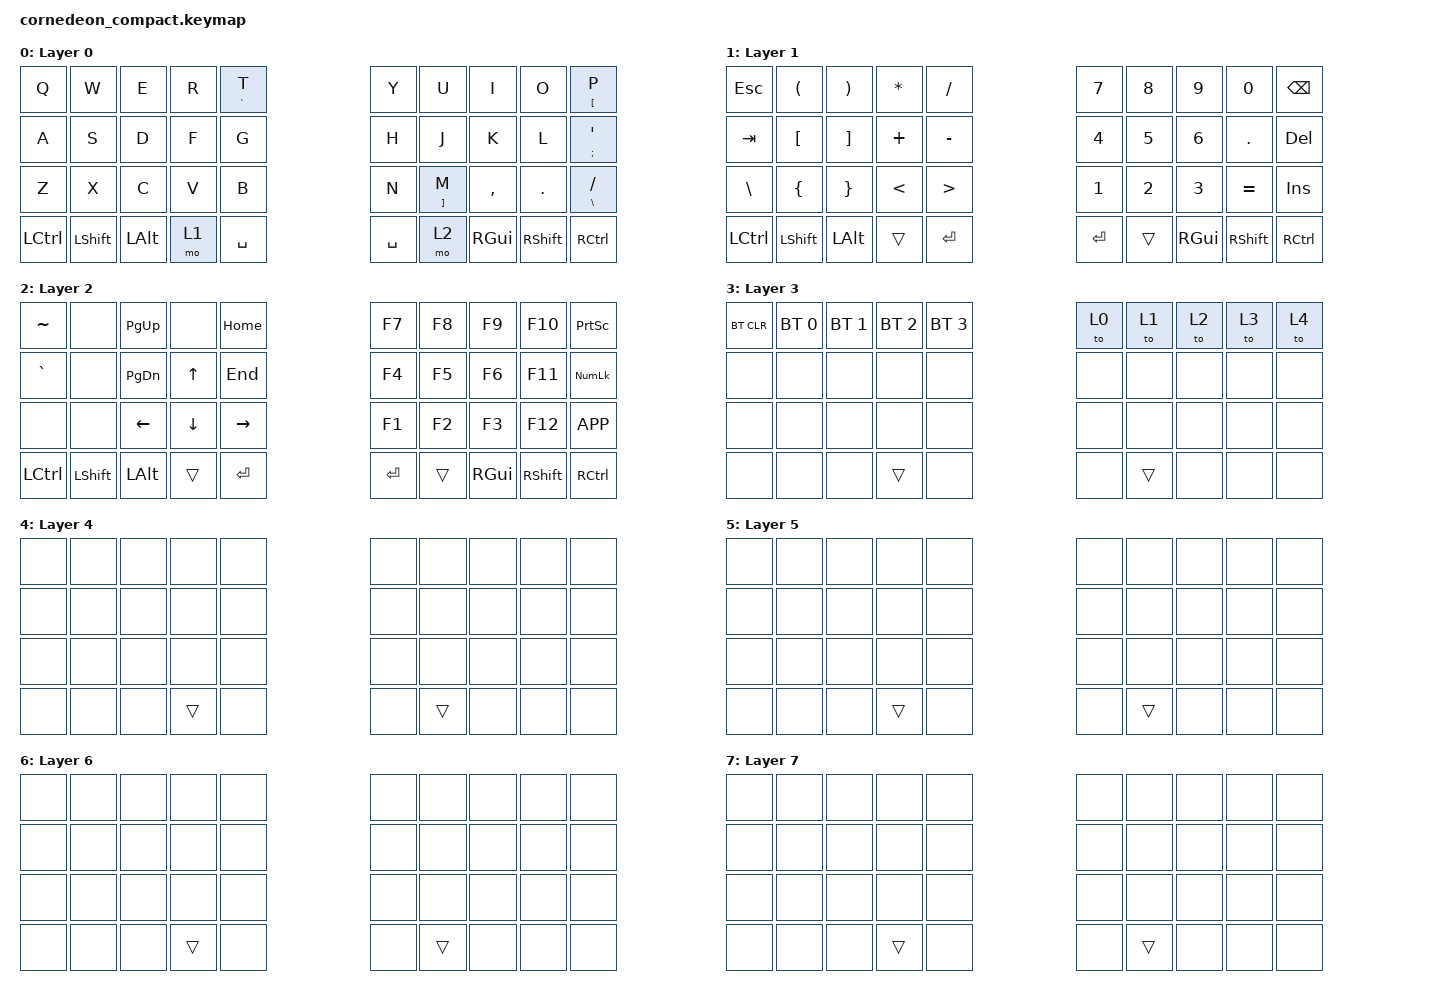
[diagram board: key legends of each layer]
/*
 * Copyright (c) 2020 The ZMK Contributors
 *
 * SPDX-License-Identifier: MIT
 */

#include <dt-bindings/zmk/matrix_transform.h>
#include <behaviors.dtsi>
#include <dt-bindings/zmk/bt.h>
#include <dt-bindings/zmk/keys.h>

/ {
    keymap {
        compatible = "zmk,keymap";

        layer_0 {
            display-name = "Layer 0";

            // ----------------------------------------------------------------------------------
            // |   Q   |   W   |   E   |   R   |  T  |       |  Y  |   U   |  I  |   O   |  P [ |
            // |   A   |   S   |   D   |   F   |  G  |       |  H  |   J   |  K  |   L   |  ;'  |
            // |   Z   |   X   |   C   |   V   |  B  |       |  N  |   M   |  ,  |   .   |  /\  |
            // |  CTRL | SHIFT |  ALT  | MO(1) | SPC |       | SPC | MO(2) | GUI | SHIFT | CTRL |

            bindings = <
&kp Q  &kp W  &kp E  &kp R  &mt GRAVE T                  &kp Y  &kp U  &kp I  &kp O  &mt LBKT P
&kp A  &kp S  &kp D  &kp F  &kp G                        &kp H  &kp J  &kp K  &kp L  &mt SEMI SQT
&kp Z  &kp X  &kp C  &kp V  &kp B                        &kp N  &mt RBKT M  &kp COMMA  &kp DOT &mt BSLH FSLH
&kp LCTRL &kp LSHFT &kp LALT  &mo 1  &kp SPACE           &kp SPACE  &mo 2  &kp RGUI  &kp RSHFT &kp RCTRL
            >;
        };

        layer_1 {
            display-name = "Layer 1";

            // --------------------------------------------------------------------------
            // |  ESC  |   (   |   )   |  *  |  /  |      |  7  |  8  |  9  |  0  | BSP |
            // |  TAB  |   [   |   ]   |  +  |  -  |      |  4  |  5  |  6  |  .  | DEL |
            // |   \   |   {   |   }   |  <  |  >  |      |  1  |  2  |  3  |  =  | INS |
            // |  CTRL | SHIFT |  ALT  |     | RET |      | RET |     | GUI | SHIFT | CTRL |

            bindings = <
&kp ESC   &kp LPAR   &kp RPAR  &kp STAR  &kp FSLH        &kp N7  &kp N8  &kp N9  &kp N0  &kp BSPC  
&kp TAB   &kp LBKT   &kp RBKT  &kp PLUS  &kp MINUS       &kp N4  &kp N5  &kp N6  &kp DOT  &kp DEL  
&kp BSLH  &kp LBRC   &kp RBRC  &kp LT    &kp GT          &kp N1  &kp N2  &kp N3  &kp EQUAL  &kp INS
&kp LCTRL &kp LSHFT  &kp LALT  &trans    &kp RET         &kp RET &trans  &kp RGUI  &kp RSHFT  &kp RCTL
            >;
        };

        layer_2 {
            display-name = "Layer 2";

            // ----------------------------------------------------------------------------------
            // |   ~   |       | PGUP |      |  HOME |      |  F7 |  F8  |  F9 |  F10  | PSCRN |
            // |   `   |       | PGDN |  UP  |  END  |      |  F4 |  F5  |  F6 |  F11  | NUMLK |
            // |       |       | LEFT | DOWN | RIGHT |      |  F1 |  F2  |  F3 |  F12  |  MENU |
            // | CTRL  | SHIFT | ALT  |      |  RET  |      | RET |      | GUI | SHIFT |  CTRL |

            bindings = <
&kp TILDE  &none     &kp PG_UP &none    &kp HOME               &kp F7  &kp F8  &kp F9  &kp F10  &kp PSCRN
&kp GRAVE  &none     &kp PG_DN &kp UP   &kp END                &kp F4  &kp F5  &kp F6  &kp F11  &kp KP_NUM
&none      &none     &kp LEFT  &kp DOWN &kp RIGHT              &kp F1  &kp F2  &kp F3  &kp F12  &kp K_APP
&kp LCTRL  &kp LSHFT &kp LALT  &trans   &kp RET                &kp RET &trans  &kp RGUI &kp RSHFT &kp RCTRL
            >;
        };

        layer_3 {
            display-name = "Layer 3";

            // -----------------------------------------------------------------------------------
            // | BTCLR | BT0 | BT1 | BT2  | BT3 |        |     |     |     |     |     |     |
            // |       |     |     |      |     |        |     |     |     |     |     |     |
            // |       |     |     |      |     |        |     |     |     |     |     |     |
            // |       |     |     |      |     |        |     |     |     |     |     |     |
            // |       |     |     |      |     |        |     |     |     |     |     |     |

            bindings = <
&bt BT_CLR  &bt BT_SEL 0  &bt BT_SEL 1  &bt BT_SEL 2  &bt BT_SEL 3    &to 0  &to 1  &to 2  &to 3  &to 4
&none  &none  &none  &none  &none                                     &none  &none  &none  &none  &none
&none  &none  &none  &none  &none                                     &none  &none  &none  &none  &none
&none  &none  &none  &trans  &none                                    &none  &trans  &none  &none  &none
            >;
        };

        layer_4 {
            display-name = "Layer 4";

            // -----------------------------------------------------------------------------------
            // |     |     |     |     |     |     |         |     |     |     |     |     |     |
            // |     |     |     |     |     |     |         |     |     |     |     |     |     |
            // |     |     |     |     |     |     |         |     |     |     |     |     |     |
            // |     |     |     |     |     |     |         |     |     |     |     |     |     |
            // |     |     |     |     |     |     |         |     |     |     |     |     |     |
            // |     |     |     |     |     |     |         |     |     |     |     |     |     |

            bindings = <
&none  &none  &none  &none  &none    &none  &none  &none  &none  &none
&none  &none  &none  &none  &none    &none  &none  &none  &none  &none
&none  &none  &none  &none  &none    &none  &none  &none  &none  &none
&none  &none  &none  &trans &none    &none  &trans  &none  &none  &none
            >;
        };

        layer_5 {
            display-name = "Layer 5";

            // -----------------------------------------------------------------------------------
            // |     |     |     |     |     |     |         |     |     |     |     |     |     |
            // |     |     |     |     |     |     |         |     |     |     |     |     |     |
            // |     |     |     |     |     |     |         |     |     |     |     |     |     |
            // |     |     |     |     |     |     |         |     |     |     |     |     |     |

            bindings = <
&none  &none  &none  &none  &none    &none  &none  &none  &none  &none
&none  &none  &none  &none  &none    &none  &none  &none  &none  &none
&none  &none  &none  &none  &none    &none  &none  &none  &none  &none
&none  &none  &none  &trans &none    &none  &trans  &none  &none  &none
            >;
        };

        layer_6 {
            display-name = "Layer 6";

            // -----------------------------------------------------------------------------------
            // |     |     |     |     |     |     |         |     |     |     |     |     |     |
            // |     |     |     |     |     |     |         |     |     |     |     |     |     |
            // |     |     |     |     |     |     |         |     |     |     |     |     |     |
            // |     |     |     |     |     |     |         |     |     |     |     |     |     |

            bindings = <
&none  &none  &none  &none  &none    &none  &none  &none  &none  &none
&none  &none  &none  &none  &none    &none  &none  &none  &none  &none
&none  &none  &none  &none  &none    &none  &none  &none  &none  &none
&none  &none  &none  &trans &none    &none  &trans  &none  &none  &none
            >;
        };
        
        layer_7 {
            display-name = "Layer 7";

            // -----------------------------------------------------------------------------------
            // |     |     |     |     |     |     |         |     |     |     |     |     |     |
            // |     |     |     |     |     |     |         |     |     |     |     |     |     |
            // |     |     |     |     |     |     |         |     |     |     |     |     |     |
            // |     |     |     |     |     |     |         |     |     |     |     |     |     |

            bindings = <
&none  &none  &none  &none  &none    &none  &none  &none  &none  &none
&none  &none  &none  &none  &none    &none  &none  &none  &none  &none
&none  &none  &none  &none  &none    &none  &none  &none  &none  &none
&none  &none  &none  &trans &none    &none  &trans  &none  &none  &none
            >;
        };


    };

    conditional_layers {
        compatible = "zmk,conditional-layers";

        layer_3 {
            if-layers = <1 2>;
            then-layer = <3>;
        };
    };

    combos {
        compatible = "zmk,combos";

        combo_bt_clr_left {
            timeout-ms = <50>;
            layers = <1>;
            key-positions = <0 1 2 3>;
            bindings = <&bt BT_CLR>;
        };

        combo_bt_clr_right {
            timeout-ms = <50>;
            layers = <2>;
            key-positions = <11 10 9 8>;
            bindings = <&bt BT_CLR>;
        };
    };
};
